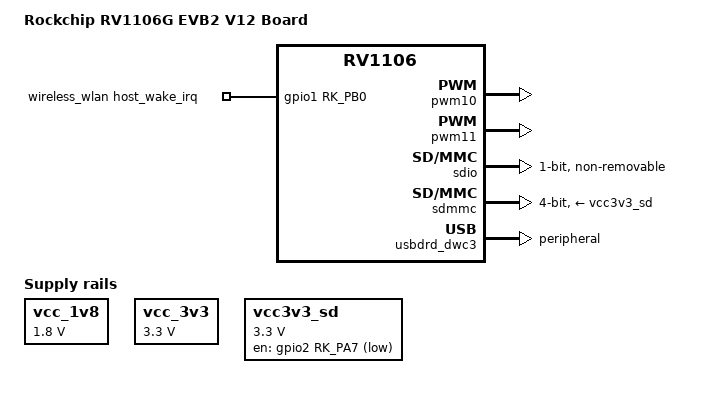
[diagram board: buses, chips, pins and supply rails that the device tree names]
// SPDX-License-Identifier: (GPL-2.0+ OR MIT)
/*
 * Copyright (c) 2023 Rockchip Electronics Co., Ltd.
 */

/dts-v1/;

#include "rv1106.dtsi"
#include "rv1106-evb-v10.dtsi"
#include "rv1106-evb-cam.dtsi"
#include "rv1106-tb-nofastae-emmc.dtsi"

/ {
	model = "Rockchip RV1106G EVB2 V12 Board";
	compatible = "rockchip,rv1106g-evb2-v12", "rockchip,rv1106";

	chosen {
		bootargs = "loglevel=0 rootfstype=erofs rootflags=dax console=ttyFIQ0 root=/dev/rd0 snd_soc_core.prealloc_buffer_size_kbytes=16 coherent_pool=0 driver_async_probe=dwmmc_rockchip";
	};

	vcc_1v8: vcc-1v8 {
		compatible = "regulator-fixed";
		regulator-name = "vcc_1v8";
		regulator-always-on;
		regulator-boot-on;
		regulator-min-microvolt = <1800000>;
		regulator-max-microvolt = <1800000>;
	};

	vcc_3v3: vcc-3v3 {
		compatible = "regulator-fixed";
		regulator-name = "vcc_3v3";
		regulator-always-on;
		regulator-boot-on;
		regulator-min-microvolt = <3300000>;
		regulator-max-microvolt = <3300000>;
	};

	vcc3v3_sd: vcc3v3-sd {
		compatible = "regulator-fixed";
		gpio = <&gpio2 RK_PA7 GPIO_ACTIVE_LOW>;
		regulator-name = "vcc3v3_sd";
		regulator-min-microvolt = <3300000>;
		regulator-max-microvolt = <3300000>;
		pinctrl-names = "default";
		pinctrl-0 = <&sdmmc_pwren>;
	};

	wireless_wlan: wireless-wlan {
		compatible = "wlan-platdata";
		WIFI,host_wake_irq = <&gpio1 RK_PB0 GPIO_ACTIVE_HIGH>;
		status = "okay";
	};
};

&fiq_debugger {
	rockchip,baudrate = <1500000>;
	pinctrl-names = "default";
	pinctrl-0 = <&uart2m1_xfer>;
};

&pinctrl {
	sdmmc {
		/omit-if-no-ref/
		sdmmc_pwren: sdmmc-pwren {
			rockchip,pins = <2 RK_PA7 RK_FUNC_GPIO &pcfg_pull_none>;
		};
	};
};

&pwm10 {
	status = "okay";
};

&pwm11 {
	status = "okay";
};

&ramdisk_r {
	reg = <0x800000 (20 * 0x00100000)>;
};

&ramdisk_c {
	reg = <0x1C00000 (10 * 0x00100000)>;
};

&sdio {
	max-frequency = <50000000>;
	bus-width = <1>;
	cap-sd-highspeed;
	cap-sdio-irq;
	keep-power-in-suspend;
	non-removable;
	rockchip,default-sample-phase = <90>;
	no-sd;
	no-mmc;
	supports-sdio;
	pinctrl-names = "default";
	pinctrl-0 = <&sdmmc1m0_cmd &sdmmc1m0_clk &sdmmc1m0_bus4>;
	status = "okay";
};

&sdmmc {
	max-frequency = <200000000>;
	no-sdio;
	no-mmc;
	bus-width = <4>;
	cap-mmc-highspeed;
	cap-sd-highspeed;
	disable-wp;
	pinctrl-names = "normal", "idle";
	pinctrl-0 = <&sdmmc0_clk &sdmmc0_cmd &sdmmc0_det &sdmmc0_bus4>;
	pinctrl-1 = <&sdmmc0_idle_pins &sdmmc0_det>;
	vmmc-supply = <&vcc3v3_sd>;
	status = "okay";
};

&sfc {
	assigned-clocks = <&cru SCLK_SFC>;
	assigned-clock-rates = <125000000>;
	status = "disabled";

	flash@0 {
		compatible = "jedec,spi-nor";
		reg = <0>;
		spi-max-frequency = <125000000>;
		spi-rx-bus-width = <4>;
		spi-tx-bus-width = <1>;
	};
};

&usbdrd_dwc3 {
	dr_mode = "peripheral";
};
